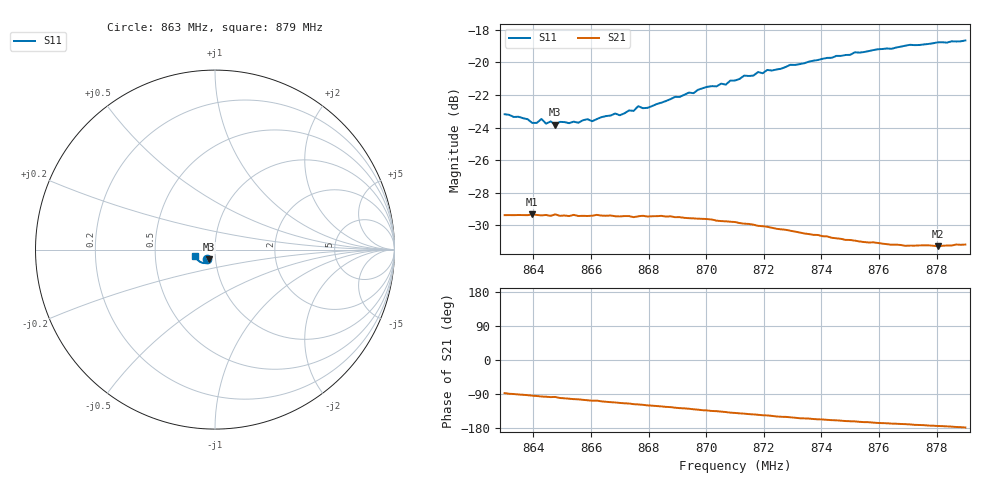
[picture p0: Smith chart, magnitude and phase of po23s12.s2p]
# HZ S RI R 50
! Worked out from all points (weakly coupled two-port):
!   101 points, 863 MHz to 879 MHz, reference 50 ohm
!   highest |S21| = -29.33 dB at 863.96 MHz (marker M1); lowest = -31.3 dB at 878.04 MHz (marker M2)
!   lowest |S11| = -23.8 dB at 864.76 MHz (marker M3), VSWR 1.14, Z = 46.3 - j5.03 ohm
!   |S11| at or under -10 dB: start of sweep to end of sweep
!   S12 and S22 are empty: the file has one direction only
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8.63e8  -0.0441 -0.0535  0.00153 -0.0339  0 0  0 0
8.638e8  -0.0409 -0.053  -0.00165 -0.0339  0 0  0 0
8.6396e8  -0.0388 -0.0524  -0.00249 -0.0341  0 0  0 0
8.6428e8  -0.0384 -0.0549  -0.00377 -0.0337  0 0  0 0
8.6444e8  -0.0372 -0.0531  -0.0041 -0.0338  0 0  0 0
8.646e8  -0.0377 -0.054  -0.00465 -0.0335  0 0  0 0
8.6476e8  -0.0351 -0.0541  -0.00444 -0.0339  0 0  0 0
8.6572e8  -0.0337 -0.0573  -0.0088 -0.0326  0 0  0 0
8.6604e8  -0.0333 -0.0569  -0.0102 -0.0323  0 0  0 0
8.6684e8  -0.0338 -0.0609  -0.0126 -0.0312  0 0  0 0
8.67e8  -0.0335 -0.0601  -0.0133 -0.0309  0 0  0 0
8.6748e8  -0.0327 -0.063  -0.015 -0.0299  0 0  0 0
8.6764e8  -0.035 -0.0645  -0.0154 -0.03  0 0  0 0
8.6796e8  -0.0344 -0.0639  -0.0167 -0.0292  0 0  0 0
8.6844e8  -0.0362 -0.066  -0.0181 -0.0285  0 0  0 0
8.71e8  -0.0486 -0.0734  -0.0247 -0.0209  0 0  0 0
8.718e8  -0.0551 -0.0755  -0.0257 -0.0182  0 0  0 0
8.7196e8  -0.0549 -0.0746  -0.026 -0.0177  0 0  0 0
8.7372e8  -0.0688 -0.0742  -0.0269 -0.0121  0 0  0 0
8.7644e8  -0.092 -0.0605  -0.0269 -0.00578  0 0  0 0
8.7804e8  -0.1048 -0.048  -0.0271 -0.00278  0 0  0 0
8.79e8  -0.1104 -0.0383  -0.0276 -0.0009  0 0  0 0
